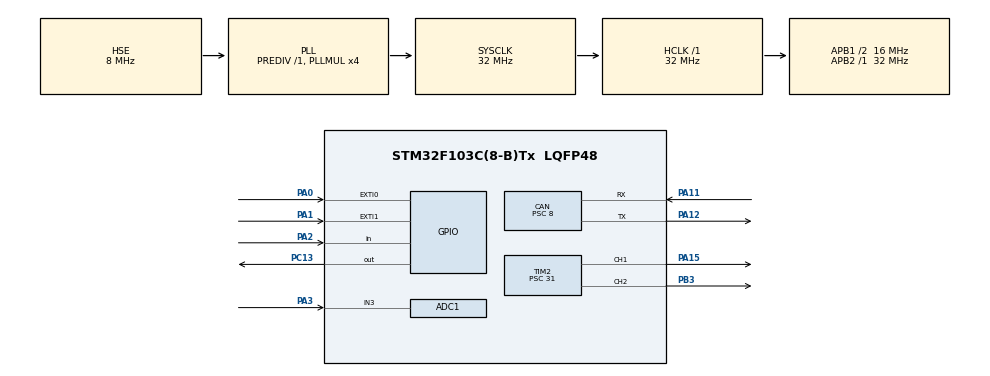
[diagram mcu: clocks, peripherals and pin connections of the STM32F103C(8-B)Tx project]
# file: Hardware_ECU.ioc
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Mcu.Family=STM32F1
RCC.PLLSourceVirtual=RCC_PLLSOURCE_HSE
PA2.GPIO_PuPd=GPIO_PULLUP
NVIC.CAN1_RX1_IRQn=true\:0\:0\:false\:false\:true\:true\:true
ADC1.Rank-0\#ChannelRegularConversion=1
PD1-OSC_OUT.Mode=HSE-External-Oscillator
ADC1.ContinuousConvMode=ENABLE
CAN.CalculateBaudRate=500000
PC13-TAMPER-RTC.Signal=GPIO_Output
PA11.Mode=CAN_Activate
PD0-OSC_IN.Signal=RCC_OSC_IN
TIM2.Channel-PWM\ Generation2\ CH2=TIM_CHANNEL_2
RCC.APB1CLKDivider=RCC_HCLK_DIV2
CAN.CalculateTimeBit=2000.00
PA0-WKUP.GPIO_ModeDefaultEXTI=GPIO_MODE_IT_RISING_FALLING
RCC.SYSCLKSource=RCC_SYSCLKSOURCE_PLLCLK
ProjectManager.StackSize=0x400
PA0-WKUP.Signal=GPXTI0
PD1-OSC_OUT.Signal=RCC_OSC_OUT
RCC.ADCPresc=RCC_ADCPCLK2_DIV4
PA13.Signal=SYS_JTMS-SWDIO
SH.S_TIM2_CH2.0=TIM2_CH2,PWM Generation2 CH2
NVIC.EXTI1_IRQn=true\:0\:0\:false\:false\:true\:true\:true
PA12.Signal=CAN_TX
CAN.Prescaler=8
CAN.BS1=CAN_BS1_2TQ
ProjectManager.TargetToolchain=STM32CubeIDE
RCC.HCLKFreq_Value=32000000
SH.ADCx_IN3.0=ADC1_IN3,IN3
RCC.APB2TimFreq_Value=32000000
RCC.USBFreq_Value=32000000
PA1.GPIO_PuPd=GPIO_PULLUP
PA1.Signal=GPXTI1
RCC.AHBFreq_Value=32000000
PD0-OSC_IN.Mode=HSE-External-Oscillator
ADC1.Channel-0\#ChannelRegularConversion=ADC_CHANNEL_3
board=custom
RCC.PLLMUL=RCC_PLL_MUL4
RCC.APB2Freq_Value=32000000
PC13-TAMPER-RTC.PinState=GPIO_PIN_SET
PA14.Mode=Serial_Wire
TIM2.Channel-PWM\ Generation1\ CH1=TIM_CHANNEL_1
TIM2.Period=100
PA13.Mode=Serial_Wire
Mcu.Name=STM32F103C(8-B)Tx
CAN.CalculateTimeQuantum=500.0
ADC1.SamplingTime-0\#ChannelRegularConversion=ADC_SAMPLETIME_1CYCLE_5
PA2.Signal=GPIO_Input
PB3.Signal=S_TIM2_CH2
NVIC.EXTI0_IRQn=true\:0\:0\:false\:false\:true\:true\:true
RCC.SYSCLKFreq_VALUE=32000000
Mcu.Package=LQFP48
TIM2.Prescaler=31
ADC1.master=1
PA12.Mode=CAN_Activate
PC13-TAMPER-RTC.GPIO_PuPd=GPIO_PULLUP
PA11.Signal=CAN_RX
SH.S_TIM2_CH1_ETR.0=TIM2_CH1,PWM Generation1 CH1
PA14.Signal=SYS_JTCK-SWCLK
PA15.Signal=S_TIM2_CH1_ETR
ProjectManager.HeapSize=0x200
NVIC.PriorityGroup=NVIC_PRIORITYGROUP_4
ADC1.NbrOfConversionFlag=1
RCC.APB1TimFreq_Value=32000000
PA0-WKUP.GPIO_PuPd=GPIO_PULLUP
RCC.APB1Freq_Value=16000000
PA1.GPIO_ModeDefaultEXTI=GPIO_MODE_IT_RISING_FALLING
PA3.Signal=ADCx_IN3

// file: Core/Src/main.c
/* USER CODE BEGIN Header */
/**
  ******************************************************************************
  * @file           : main.c
  * @brief          : Main program body
  ******************************************************************************
  * @attention
  *
  * <h2><center>&copy; Copyright (c) 2025 STMicroelectronics.
  * All rights reserved.</center></h2>
  *
  * This software component is licensed by ST under BSD 3-Clause license,
  * the "License"; You may not use this file except in compliance with the
  * License. You may obtain a copy of the License at:
  *                        opensource.org/licenses/BSD-3-Clause
  *
  ******************************************************************************
  */
/* USER CODE END Header */
#include "main.h"

ADC_HandleTypeDef hadc1;

CAN_HandleTypeDef hcan;

TIM_HandleTypeDef htim2;

/* USER CODE BEGIN PV */
volatile uint8_t pc13_led_state = 0;
volatile int16_t brightness = 50;
const int16_t BRIGHTNESS_MIN = 0;
const int16_t BRIGHTNESS_MAX = 100;

uint32_t adc_value = 0;
uint32_t pwm_value = 0;
uint8_t led_state = 0;

volatile uint8_t flag_encoder = 0;
volatile uint8_t flag_button = 0;

volatile uint16_t encoder_value = 0;
volatile uint8_t  button_value  = 0;

// Lưu giá trị lần trước
static uint16_t prev_encoder_value = 0xFFFF; // khởi tạo khác giá trị thực để lần đầu vẫn gửi
static uint8_t  prev_button_value  = 0;

uint32_t last_encoder_time = 0;
uint32_t last_button_time  = 0;
const uint32_t debounce_delay = 10; // ms

extern TIM_HandleTypeDef htim2;
extern CAN_HandleTypeDef hcan;

/* USER CODE END PV */

void SystemClock_Config(void);
static void MX_GPIO_Init(void);
static void MX_ADC1_Init(void);
static void MX_TIM2_Init(void);
static void MX_CAN_Init(void);

/* USER CODE BEGIN 0 */

uint32_t millis(void)
{
    return HAL_GetTick();
}

//ENCODER + TIMER + SWITCH INTERRUPT

void HAL_GPIO_EXTI_Callback(uint16_t GPIO_Pin)
{
	uint32_t now = millis();

    if (GPIO_Pin == GPIO_PIN_1) // PA1 = CLK
    {
    	if ((now - last_encoder_time) < debounce_delay) return;
			last_encoder_time = now;

        if (HAL_GPIO_ReadPin(GPIOA, GPIO_PIN_2) == GPIO_PIN_RESET) {
            // Quay nguoc
            if (brightness > BRIGHTNESS_MIN)
                brightness--;
        } else {
            // Quay thuan
            if (brightness < BRIGHTNESS_MAX)
                brightness++;
        }

       //Capnhap trang thai led thong qua timer2_CH1
        __HAL_TIM_SET_COMPARE(&htim2, TIM_CHANNEL_1, brightness);

        encoder_value = brightness;

        // Chỉ set c�? nếu giá trị mới khác giá trị trước
		if (encoder_value != prev_encoder_value) {
			prev_encoder_value = encoder_value;
			flag_encoder = 1;
		}

    }
    else if (GPIO_Pin == GPIO_PIN_0) // PA0 = Switch
	{
    	if ((now - last_button_time) < debounce_delay) return;
			last_button_time = now;

    	button_value = (HAL_GPIO_ReadPin(GPIOA, GPIO_PIN_0) == GPIO_PIN_SET) ? 1 : 0;
    	if (button_value != prev_button_value) {
			prev_button_value = button_value;

			if (button_value == 1) {
				led_state = !led_state;
				HAL_GPIO_WritePin(GPIOC, GPIO_PIN_13, led_state ? GPIO_PIN_RESET : GPIO_PIN_SET);
			}

			flag_button = 1;
		}
	}
}

uint16_t Read_ADC(void){
	HAL_ADC_Start(&hadc1);
		if(HAL_ADC_PollForConversion(&hadc1, 100) == HAL_OK){  //

			adc_value = HAL_ADC_GetValue(&hadc1);

			pwm_value = (adc_value * 1000) / 4095;

			__HAL_TIM_SET_COMPARE(&htim2, TIM_CHANNEL_2, pwm_value);
		}

		HAL_ADC_Stop(&hadc1);
		HAL_Delay(10);

		return adc_value;
}

/* USER CODE END 0 */

int main(void)
{

  /* MCU Configuration--------------------------------------------------------*/

  /* Reset of all peripherals, Initializes the Flash interface and the Systick. */
  HAL_Init();

  /* Configure the system clock */
  SystemClock_Config();

  /* Initialize all configured peripherals */
  MX_GPIO_Init();
  MX_ADC1_Init();
  MX_TIM2_Init();
  MX_CAN_Init();
  /* USER CODE BEGIN 2 */

  HAL_TIM_PWM_Start(&htim2, TIM_CHANNEL_1); //Start PWM on TIM2 CH1
  __HAL_TIM_SET_COMPARE(&htim2, TIM_CHANNEL_1, 50);

  HAL_TIM_PWM_Start(&htim2, TIM_CHANNEL_2); // Start PWM on TIM2 CH2

  HAL_CAN_Start(&hcan); // Start CAN
 // HAL_CANRxFifolMsgPendingCallback()

  CAN_TxHeaderTypeDef TxHeader;
  uint8_t TxData[8];
  uint32_t TxMailbox;

  TxHeader.IDE = CAN_ID_STD;
  TxHeader.RTR = CAN_RTR_DATA;

  /* USER CODE END 2 */

  /* Infinite loop */
  while (1)
  {

    /* USER CODE BEGIN 3 */
	  static uint16_t prev_adc_value = 0xFFFF;
	  uint16_t adc_now = Read_ADC();
	  if (adc_now != prev_adc_value) {
		  prev_adc_value = adc_now;
		  TxHeader.StdId = 0x125;  // ID cho ADC
		  TxHeader.DLC = 2;
		  TxData[0] = (adc_now >> 8) & 0xFF;
		  TxData[1] = adc_now & 0xFF;
		  HAL_CAN_AddTxMessage(&hcan, &TxHeader, TxData, &TxMailbox);
	  }

	  // Gửi encoder nếu có flag
	  if (flag_encoder) {
		  flag_encoder = 0;
		  TxHeader.StdId = 0x123; // ID cho encoder
		  TxHeader.DLC = 2;
		  TxData[0] = (encoder_value >> 8) & 0xFF;
		  TxData[1] = encoder_value & 0xFF;
		  HAL_CAN_AddTxMessage(&hcan, &TxHeader, TxData, &TxMailbox);
	  }

	  // Gửi button nếu có flag
	  if (flag_button) {
		  flag_button = 0;
		  TxHeader.StdId = 0x124; // ID cho button
		  TxHeader.DLC = 1;
		  TxData[0] = button_value;
		  HAL_CAN_AddTxMessage(&hcan, &TxHeader, TxData, &TxMailbox);
	  }

	  HAL_StatusTypeDef status = HAL_CAN_AddTxMessage(&hcan, &TxHeader, TxData, &TxMailbox);
	  if (status != HAL_OK) {
	      // Blink LED để báo lỗi
	      HAL_GPIO_WritePin(GPIOC, GPIO_PIN_13, GPIO_PIN_RESET);
	  }
}
  /* USER CODE END 3 */
}

void SystemClock_Config(void)
{
  RCC_OscInitTypeDef RCC_OscInitStruct = {0};
  RCC_ClkInitTypeDef RCC_ClkInitStruct = {0};
  RCC_PeriphCLKInitTypeDef PeriphClkInit = {0};

  /** Initializes the RCC Oscillators according to the specified parameters
  * in the RCC_OscInitTypeDef structure.
  */
  RCC_OscInitStruct.OscillatorType = RCC_OSCILLATORTYPE_HSE;
  RCC_OscInitStruct.HSEState = RCC_HSE_ON;
  RCC_OscInitStruct.HSEPredivValue = RCC_HSE_PREDIV_DIV1;
  RCC_OscInitStruct.HSIState = RCC_HSI_ON;
  RCC_OscInitStruct.PLL.PLLState = RCC_PLL_ON;
  RCC_OscInitStruct.PLL.PLLSource = RCC_PLLSOURCE_HSE;
  RCC_OscInitStruct.PLL.PLLMUL = RCC_PLL_MUL4;
  if (HAL_RCC_OscConfig(&RCC_OscInitStruct) != HAL_OK)
  {
    Error_Handler();
  }
  /** Initializes the CPU, AHB and APB buses clocks
  */
  RCC_ClkInitStruct.ClockType = RCC_CLOCKTYPE_HCLK|RCC_CLOCKTYPE_SYSCLK
                              |RCC_CLOCKTYPE_PCLK1|RCC_CLOCKTYPE_PCLK2;
  RCC_ClkInitStruct.SYSCLKSource = RCC_SYSCLKSOURCE_PLLCLK;
  RCC_ClkInitStruct.AHBCLKDivider = RCC_SYSCLK_DIV1;
  RCC_ClkInitStruct.APB1CLKDivider = RCC_HCLK_DIV2;
  RCC_ClkInitStruct.APB2CLKDivider = RCC_HCLK_DIV1;

  if (HAL_RCC_ClockConfig(&RCC_ClkInitStruct, FLASH_LATENCY_1) != HAL_OK)
  {
    Error_Handler();
  }
  PeriphClkInit.PeriphClockSelection = RCC_PERIPHCLK_ADC;
  PeriphClkInit.AdcClockSelection = RCC_ADCPCLK2_DIV4;
  if (HAL_RCCEx_PeriphCLKConfig(&PeriphClkInit) != HAL_OK)
  {
    Error_Handler();
  }
}

static void MX_ADC1_Init(void)
{

  ADC_ChannelConfTypeDef sConfig = {0};

  /** Common config
  */
  hadc1.Instance = ADC1;
  hadc1.Init.ScanConvMode = ADC_SCAN_DISABLE;
  hadc1.Init.ContinuousConvMode = ENABLE;
  hadc1.Init.DiscontinuousConvMode = DISABLE;
  hadc1.Init.ExternalTrigConv = ADC_SOFTWARE_START;
  hadc1.Init.DataAlign = ADC_DATAALIGN_RIGHT;
  hadc1.Init.NbrOfConversion = 1;
  if (HAL_ADC_Init(&hadc1) != HAL_OK)
  {
    Error_Handler();
  }
  /** Configure Regular Channel
  */
  sConfig.Channel = ADC_CHANNEL_3;
  sConfig.Rank = ADC_REGULAR_RANK_1;
  sConfig.SamplingTime = ADC_SAMPLETIME_1CYCLE_5;
  if (HAL_ADC_ConfigChannel(&hadc1, &sConfig) != HAL_OK)
  {
    Error_Handler();
  }

}

static void MX_CAN_Init(void)
{

  hcan.Instance = CAN1;
  hcan.Init.Prescaler = 8;
  hcan.Init.Mode = CAN_MODE_NORMAL;
  hcan.Init.SyncJumpWidth = CAN_SJW_1TQ;
  hcan.Init.TimeSeg1 = CAN_BS1_2TQ;
  hcan.Init.TimeSeg2 = CAN_BS2_1TQ;
  hcan.Init.TimeTriggeredMode = DISABLE;
  hcan.Init.AutoBusOff = DISABLE;
  hcan.Init.AutoWakeUp = DISABLE;
  hcan.Init.AutoRetransmission = DISABLE;
  hcan.Init.ReceiveFifoLocked = DISABLE;
  hcan.Init.TransmitFifoPriority = DISABLE;
  if (HAL_CAN_Init(&hcan) != HAL_OK)
  {
    Error_Handler();
  }
  /* USER CODE BEGIN CAN_Init 2 */

  // Thêm vào MX_CAN_Init()
  CAN_FilterTypeDef sFilterConfig;
  sFilterConfig.FilterBank = 0;
  sFilterConfig.FilterMode = CAN_FILTERMODE_IDMASK;
  sFilterConfig.FilterScale = CAN_FILTERSCALE_32BIT;
  sFilterConfig.FilterIdHigh = 0x0000;
  sFilterConfig.FilterIdLow = 0x0000;
  sFilterConfig.FilterMaskIdHigh = 0x0000;
  sFilterConfig.FilterMaskIdLow = 0x0000;
  sFilterConfig.FilterFIFOAssignment = CAN_RX_FIFO0;
  sFilterConfig.FilterActivation = ENABLE;
  sFilterConfig.SlaveStartFilterBank = 14;

  HAL_CAN_ConfigFilter(&hcan, &sFilterConfig);

  /* USER CODE END CAN_Init 2 */

}

static void MX_TIM2_Init(void)
{

  TIM_MasterConfigTypeDef sMasterConfig = {0};
  TIM_OC_InitTypeDef sConfigOC = {0};

  htim2.Instance = TIM2;
  htim2.Init.Prescaler = 31;
  htim2.Init.CounterMode = TIM_COUNTERMODE_UP;
  htim2.Init.Period = 100;
  htim2.Init.ClockDivision = TIM_CLOCKDIVISION_DIV1;
  htim2.Init.AutoReloadPreload = TIM_AUTORELOAD_PRELOAD_DISABLE;
  if (HAL_TIM_PWM_Init(&htim2) != HAL_OK)
  {
    Error_Handler();
  }
  sMasterConfig.MasterOutputTrigger = TIM_TRGO_RESET;
  sMasterConfig.MasterSlaveMode = TIM_MASTERSLAVEMODE_DISABLE;
  if (HAL_TIMEx_MasterConfigSynchronization(&htim2, &sMasterConfig) != HAL_OK)
  {
    Error_Handler();
  }
  sConfigOC.OCMode = TIM_OCMODE_PWM1;
  sConfigOC.Pulse = 0;
  sConfigOC.OCPolarity = TIM_OCPOLARITY_HIGH;
  sConfigOC.OCFastMode = TIM_OCFAST_DISABLE;
  if (HAL_TIM_PWM_ConfigChannel(&htim2, &sConfigOC, TIM_CHANNEL_1) != HAL_OK)
  {
    Error_Handler();
  }
  if (HAL_TIM_PWM_ConfigChannel(&htim2, &sConfigOC, TIM_CHANNEL_2) != HAL_OK)
  {
    Error_Handler();
  }
  HAL_TIM_MspPostInit(&htim2);

}

static void MX_GPIO_Init(void)
{
  GPIO_InitTypeDef GPIO_InitStruct = {0};

  /* GPIO Ports Clock Enable */
  __HAL_RCC_GPIOC_CLK_ENABLE();
  __HAL_RCC_GPIOD_CLK_ENABLE();
  __HAL_RCC_GPIOA_CLK_ENABLE();
  __HAL_RCC_GPIOB_CLK_ENABLE();

  /*Configure GPIO pin Output Level */
  HAL_GPIO_WritePin(GPIOC, GPIO_PIN_13, GPIO_PIN_SET);

  /*Configure GPIO pin : PC13 */
  GPIO_InitStruct.Pin = GPIO_PIN_13;
  GPIO_InitStruct.Mode = GPIO_MODE_OUTPUT_PP;
  GPIO_InitStruct.Pull = GPIO_PULLUP;
  GPIO_InitStruct.Speed = GPIO_SPEED_FREQ_LOW;
  HAL_GPIO_Init(GPIOC, &GPIO_InitStruct);

  /*Configure GPIO pins : PA0 PA1 */
  GPIO_InitStruct.Pin = GPIO_PIN_0|GPIO_PIN_1;
  GPIO_InitStruct.Mode = GPIO_MODE_IT_RISING_FALLING;
  GPIO_InitStruct.Pull = GPIO_PULLUP;
  HAL_GPIO_Init(GPIOA, &GPIO_InitStruct);

  /*Configure GPIO pin : PA2 */
  GPIO_InitStruct.Pin = GPIO_PIN_2;
  GPIO_InitStruct.Mode = GPIO_MODE_INPUT;
  GPIO_InitStruct.Pull = GPIO_PULLUP;
  HAL_GPIO_Init(GPIOA, &GPIO_InitStruct);

  /* EXTI interrupt init*/
  HAL_NVIC_SetPriority(EXTI0_IRQn, 0, 0);
  HAL_NVIC_EnableIRQ(EXTI0_IRQn);

  HAL_NVIC_SetPriority(EXTI1_IRQn, 0, 0);
  HAL_NVIC_EnableIRQ(EXTI1_IRQn);

}

void Error_Handler(void)
{
  __disable_irq();
  while (1)
  {
  }
}

/************************ (C) COPYRIGHT STMicroelectronics *****END OF FILE****/
